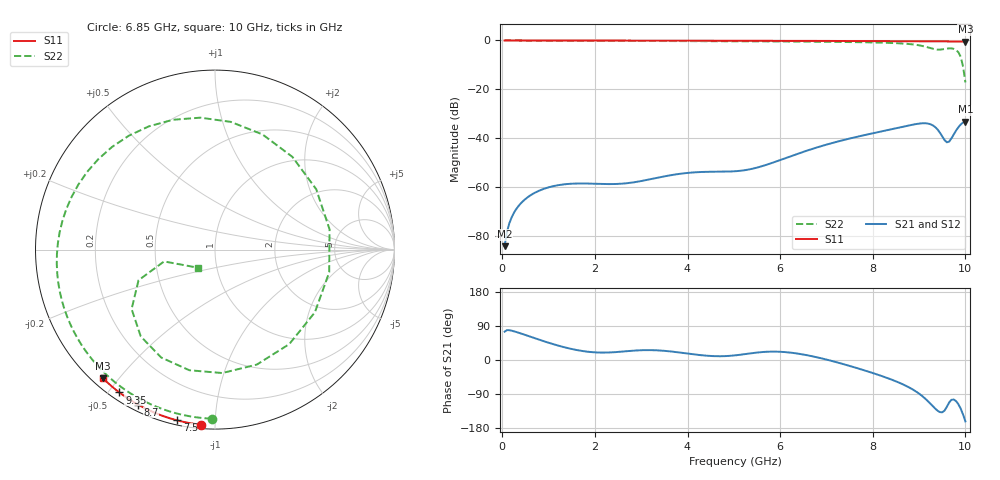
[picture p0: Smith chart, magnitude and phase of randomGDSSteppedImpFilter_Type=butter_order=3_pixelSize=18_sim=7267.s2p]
! freq	dB(S11)	phase(S11)	dB(S12)	phase(S12)
!  dB(S21)	phase(S21)	dB(S22)	phase(S22)
!S-par simulation data
#  GHz  S  DB  R 50
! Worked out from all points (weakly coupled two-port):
!   200 points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, 50 MHz to 10 GHz, reference 50 ohm
!   highest |S21| = -33.23 dB at 10 GHz (marker M1); lowest = -84.3 dB at 50 MHz (marker M2)
!   lowest |S11| = -0.4 dB at 10 GHz (marker M3), VSWR 39.44, Z = 1.53 - j22.7 ohm
!   |S11| at or under -10 dB: nowhere
!   |S22| runs from -17.2 to 0.0 dB; largest |S21 - S12| = 0
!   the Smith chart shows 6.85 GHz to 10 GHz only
!   S11 on the Smith chart (normalised r, x): 6.85 GHz: 0.02, -0.92; 7.5 GHz: 0.02, -0.80; 8.7 GHz: 0.03, -0.62; 9.35 GHz: 0.03, -0.53; 10 GHz: 0.03, -0.45
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0.05  -0.00 -0.8  -84.27 74.7  -84.27 74.7  -0.00 -4.0
0.35  -0.01 -5.3  -67.83 72.1  -67.83 72.1  -0.03 -28.1
0.9  -0.02 -13.5  -60.76 49.4  -60.76 49.4  -0.09 -70.9
1.3  -0.02 -19.5  -59.02 34.9  -59.02 34.9  -0.12 -100.2
1.75  -0.03 -26.1  -58.58 23.4  -58.58 23.4  -0.14 -131.4
2.55  -0.05 -37.8  -58.72 21.8  -58.72 21.8  -0.18 175.9
3.4  -0.07 -49.8  -56.05 25.1  -56.05 25.1  -0.23 119.9
4.15  -0.08 -60.1  -54.03 14.7  -54.03 14.7  -0.28 68.9
5.05  -0.11 -72.1  -53.55 12.5  -53.55 12.5  -0.34 8.6
5.95  -0.14 -83.6  -49.33 22.0  -49.33 22.0  -0.41 -45.0
6.7  -0.18 -92.9  -44.39 9.7  -44.39 9.7  -0.49 -83.8
6.85  -0.19 -94.7  -43.51 5.6  -43.51 5.6  -0.52 -91.1
7.5  -0.23 -102.5  -40.18 -15.6  -40.18 -15.6  -0.65 -122.2
8.35  -0.29 -112.4  -36.59 -49.2  -36.59 -49.2  -0.99 -168.0
8.7  -0.32 -116.4  -35.14 -67.1  -35.14 -67.1  -1.32 164.8
8.95  -0.34 -119.3  -34.20 -84.5  -34.20 -84.5  -1.83 135.2
9.15  -0.36 -121.6  -33.94 -103.9  -33.94 -103.9  -2.62 96.3
9.35  -0.38 -123.8  -35.51 -128.5  -35.51 -128.5  -3.65 30.8
9.5  -0.39 -125.5  -39.29 -138.0  -39.29 -138.0  -3.65 -32.1
9.65  -0.41 -127.2  -41.41 -111.9  -41.41 -111.9  -3.24 -86.7
9.85  -0.43 -129.4  -35.52 -117.0  -35.52 -117.0  -4.87 -144.5
10  -0.44 -131.1  -33.23 -161.9  -33.23 -161.9  -17.19 -133.1
